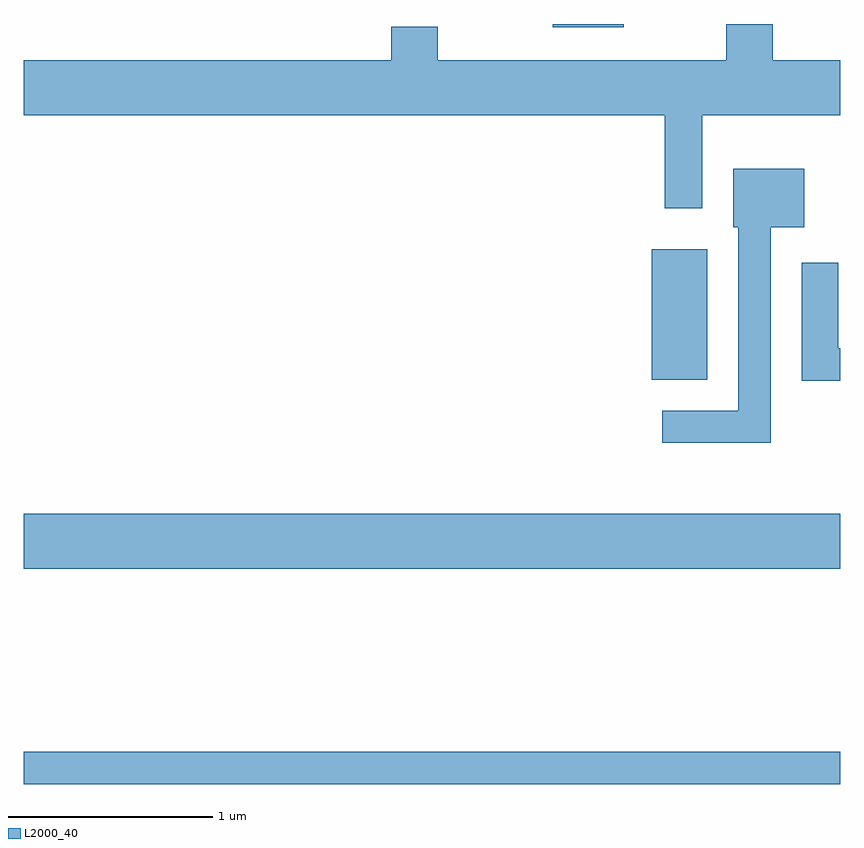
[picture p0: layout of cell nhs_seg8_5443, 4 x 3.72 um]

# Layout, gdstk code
import gdstk
lib = gdstk.Library(unit=1e-6, precision=1e-09)
def R(c, l, rs):  # rectangles x0, y0, x1, y1
    for r in rs: c.add(gdstk.rectangle(r[:2], r[2:], *l))
def P(c, l, *ps):  # polygons
    for p in ps: c.add(gdstk.Polygon(p, *l))
L2000_40 = (2000, 40)

nhs_seg8_5443 = lib.new_cell('nhs_seg8_5443')
R(nhs_seg8_5443, L2000_40, [(347.611,1908.621,351.611,1908.779), (347.611,1909.676,351.611,1909.944), (350.686,1910.601,350.959,1911.239), (350.203,1912.326,350.549,1912.342)])
P(nhs_seg8_5443, L2000_40, [(350.934,1911.896),(351.611,1911.896),(351.611,1912.164),(351.279,1912.164),(351.279,1912.342),(351.051,1912.342),(351.051,1912.164),(349.639,1912.164),(349.639,1912.329),(349.411,1912.329),(349.411,1912.164),(347.611,1912.164),(347.611,1911.896),(350.751,1911.896),(350.751,1911.441),(350.934,1911.441)],
  [(351.269,1911.346),(351.434,1911.346),(351.434,1911.634),(351.086,1911.634),(351.086,1911.346),(351.111,1911.346),(351.111,1910.449),(350.738,1910.449),(350.738,1910.291),(351.269,1910.291)],
  [(351.611,1910.754),(351.599,1910.754),(351.599,1911.174),(351.421,1911.174),(351.421,1910.596),(351.611,1910.596)])

lib.write_gds('nhs_seg8_5443.gds')
